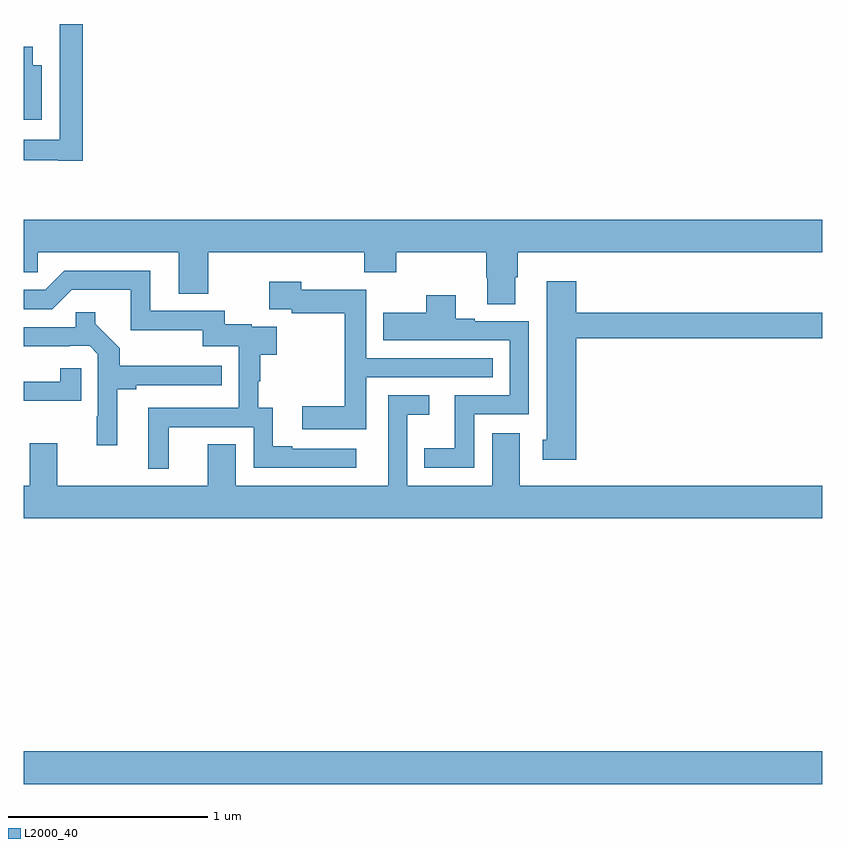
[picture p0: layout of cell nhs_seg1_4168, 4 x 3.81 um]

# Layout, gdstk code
import gdstk
lib = gdstk.Library(unit=1e-6, precision=1e-09)
def R(c, l, rs):  # rectangles x0, y0, x1, y1
    for r in rs: c.add(gdstk.rectangle(r[:2], r[2:], *l))
def P(c, l, *ps):  # polygons
    for p in ps: c.add(gdstk.Polygon(p, *l))
L2000_40 = (2000, 40)

nhs_seg1_4168 = lib.new_cell('nhs_seg1_4168')
R(nhs_seg1_4168, L2000_40, [(337,578.372,341,578.536)])
P(nhs_seg1_4168, L2000_40, [(337.295,582.181),(337.179,582.181),(337.179,581.602),(337,581.602),(337,581.498),(337.172,581.498),(337.172,581.496),(337.295,581.496)],
  [(337.09,581.974),(337.045,581.974),(337.045,582.067),(337,582.067),(337,581.702),(337.09,581.702)],
  [(339.463,580.913),(339.476,580.913),(339.476,581.036),(341,581.036),(341,581.2),(337,581.2),(337,580.938),(337.068,580.938),(337.068,581.036),(337.775,581.036),(337.775,580.828),(337.923,580.828),(337.923,581.036),(338.705,581.036),(338.705,580.937),(338.865,580.937),(338.865,581.036),(339.316,581.036),(339.316,580.909),(339.323,580.909),(339.323,580.777),(339.463,580.777)],
  [(337.726,580.161),(338.151,580.161),(338.151,579.957),(338.665,579.957),(338.665,580.053),(338.344,580.053),(338.344,580.066),(338.248,580.066),(338.248,580.257),(338.175,580.257),(338.175,580.391),(338.185,580.391),(338.185,580.523),(338.266,580.523),(338.266,580.663),(338.141,580.663),(338.141,580.675),(338.007,580.675),(338.007,580.743),(337.633,580.743),(337.633,580.944),(337.202,580.944),(337.106,580.848),(337,580.848),(337,580.752),(337.143,580.752),(337.239,580.848),(337.535,580.848),(337.535,580.646),(337.896,580.646),(337.896,580.566),(338.076,580.566),(338.076,580.257),(337.622,580.257),(337.622,579.953),(337.726,579.953)],
  [(339.767,580.606),(341,580.606),(341,580.735),(339.767,580.735),(339.767,580.891),(339.62,580.891),(339.62,580.098),(339.599,580.098),(339.599,579.996),(339.767,579.996)],
  [(338.715,580.41),(339.35,580.41),(339.35,580.506),(338.715,580.506),(338.715,580.85),(338.39,580.85),(338.39,580.888),(338.229,580.888),(338.229,580.752),(338.341,580.752),(338.341,580.732),(338.607,580.732),(338.607,580.265),(338.394,580.265),(338.394,580.149),(338.715,580.149)],
  [(339.258,580.224),(339.531,580.224),(339.531,580.692),(339.259,580.692),(339.259,580.705),(339.163,580.705),(339.163,580.822),(339.016,580.822),(339.016,580.735),(338.8,580.735),(338.8,580.595),(339.027,580.595),(339.027,580.596),(339.435,580.596),(339.435,580.32),(339.16,580.32),(339.16,580.054),(339.007,580.054),(339.007,579.957),(339.258,579.957)],
  [(337.468,580.351),(337.564,580.351),(337.564,580.371),(337.991,580.371),(337.991,580.467),(337.883,580.467),(337.883,580.469),(337.48,580.469),(337.48,580.557),(337.358,580.679),(337.358,580.737),(337.26,580.737),(337.26,580.662),(337,580.662),(337,580.565),(337.229,580.565),(337.229,580.568),(337.33,580.568),(337.371,580.527),(337.371,580.215),(337.364,580.215),(337.364,580.071),(337.468,580.071)],
  [(337.286,580.456),(337.183,580.456),(337.183,580.389),(337,580.389),(337,580.292),(337.286,580.292)],
  [(341,579.868),(339.484,579.868),(339.484,580.129),(339.347,580.129),(339.347,579.868),(338.922,579.868),(338.922,580.223),(339.031,580.223),(339.031,580.32),(338.825,580.32),(338.825,579.868),(338.062,579.868),(338.062,580.076),(337.922,580.076),(337.922,579.868),(337.168,579.868),(337.168,580.081),(337.028,580.081),(337.028,579.868),(337,579.868),(337,579.704),(341,579.704)])

lib.write_gds('nhs_seg1_4168.gds')
